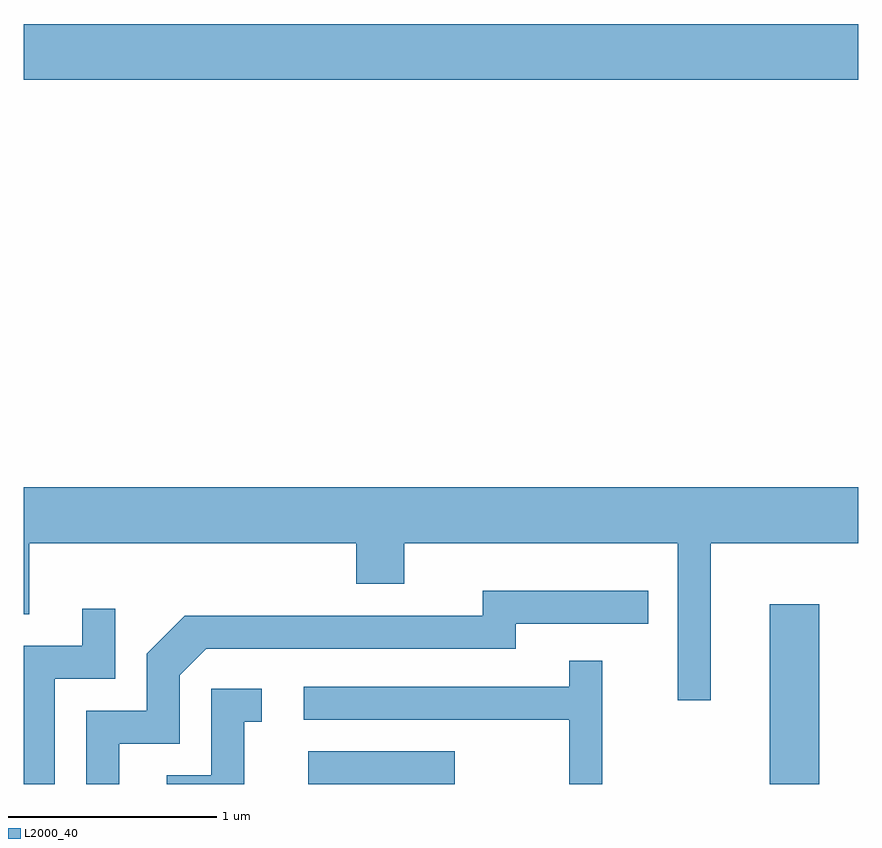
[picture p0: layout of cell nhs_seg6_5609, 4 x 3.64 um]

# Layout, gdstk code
import gdstk
lib = gdstk.Library(unit=1e-6, precision=1e-09)
def R(c, l, rs):  # rectangles x0, y0, x1, y1
    for r in rs: c.add(gdstk.rectangle(r[:2], r[2:], *l))
def P(c, l, *ps):  # polygons
    for p in ps: c.add(gdstk.Polygon(p, *l))
L2000_40 = (2000, 40)

nhs_seg6_5609 = lib.new_cell('nhs_seg6_5609')
R(nhs_seg6_5609, L2000_40, [(356.976,1602.162,357.678,1602.319), (359.186,1602.162,359.424,1603.024), (355.611,1605.536,359.611,1605.804)])
P(nhs_seg6_5609, L2000_40, [(358.904,1603.316),(359.611,1603.316),(359.611,1603.584),(355.611,1603.584),(355.611,1602.976),(355.639,1602.976),(355.639,1603.316),(357.206,1603.316),(357.206,1603.121),(357.434,1603.121),(357.434,1603.316),(358.746,1603.316),(358.746,1602.563),(358.904,1602.563)],
  [(356.069,1602.356),(356.359,1602.356),(356.359,1602.684),(356.487,1602.811),(357.969,1602.811),(357.969,1602.931),(358.603,1602.931),(358.603,1603.089),(357.811,1603.089),(357.811,1602.969),(356.384,1602.969),(356.201,1602.787),(356.201,1602.514),(355.911,1602.514),(355.911,1602.162),(356.069,1602.162)],
  [(355.759,1602.666),(356.049,1602.666),(356.049,1603.003),(355.891,1603.003),(355.891,1602.824),(355.611,1602.824),(355.611,1602.162),(355.759,1602.162)],
  [(358.384,1602.753),(358.226,1602.753),(358.226,1602.629),(356.953,1602.629),(356.953,1602.471),(358.226,1602.471),(358.226,1602.162),(358.384,1602.162)],
  [(356.669,1602.461),(356.753,1602.461),(356.753,1602.619),(356.511,1602.619),(356.511,1602.204),(356.296,1602.204),(356.296,1602.162),(356.669,1602.162)])

lib.write_gds('nhs_seg6_5609.gds')
